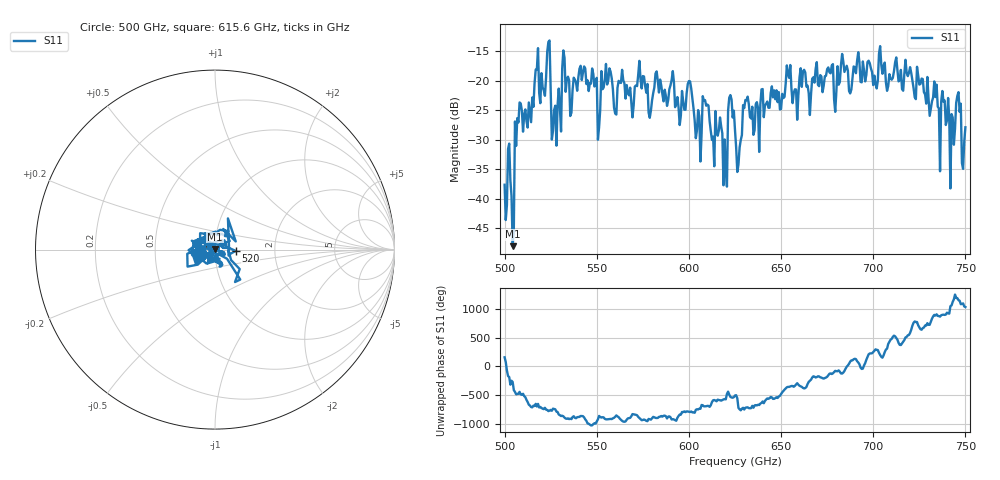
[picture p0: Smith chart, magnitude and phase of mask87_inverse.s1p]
!Created with skrf (http://scikit-rf.org).
# GHz S MA R 50.0
!freq magS11 angS11
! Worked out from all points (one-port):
!   401 points, 500 GHz to 750 GHz, reference 50 ohm
!   lowest |S11| = -48.0 dB at 504.4 GHz (marker M1), VSWR 1.01, Z = 50 + j0.398 ohm
!   |S11| at or under -10 dB: start of sweep to end of sweep
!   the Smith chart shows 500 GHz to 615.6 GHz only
!   S11 on the Smith chart (normalised r, x): 500 GHz: 0.98, +0.01; 520 GHz: 1.26, -0.02; 615.6 GHz: 0.95, +0.04
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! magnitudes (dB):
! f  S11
! 500 GHz  -37.6
! 504.4 GHz  -48.0
! 508.1 GHz  -23.7
! 520 GHz  -18.7
! 523.8 GHz  -13.5
! 526.9 GHz  -25.0
! 531.2 GHz  -17.9
! 548.8 GHz  -21.0
! 551.9 GHz  -24.9
! 553.8 GHz  -21.2
! 562.5 GHz  -20.3
! 593.8 GHz  -22.8
! 600 GHz  -20.1
! 605 GHz  -25.0
! 608.8 GHz  -23.3
! 612.5 GHz  -30.0
! 615.6 GHz  -29.3
! 619.4 GHz  -29.9
! 622.5 GHz  -22.4
! 625 GHz  -28.4
! 627.5 GHz  -31.3
! 630.6 GHz  -23.3
! 656.2 GHz  -23.8
! 687.5 GHz  -22.2
! 718.8 GHz  -19.2
! 743.1 GHz  -26.2
! 746.2 GHz  -22.0
! 750 GHz  -27.9
